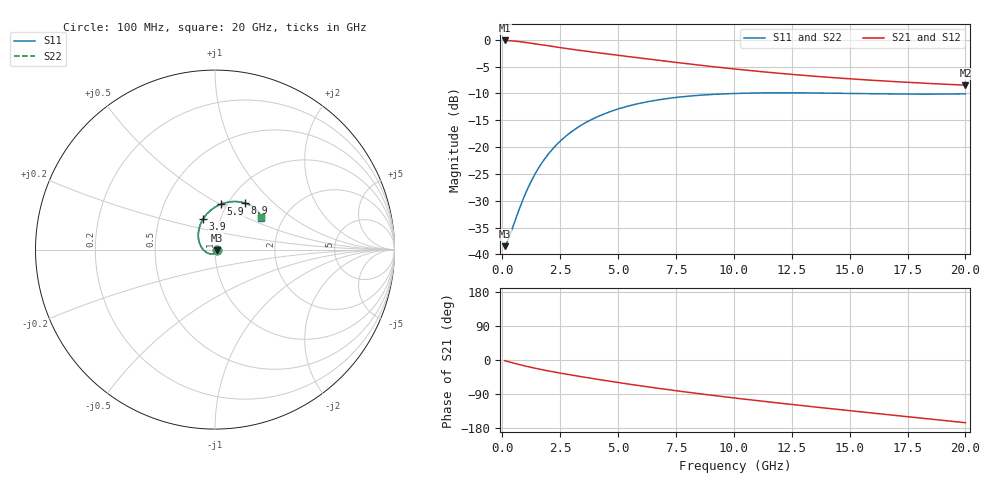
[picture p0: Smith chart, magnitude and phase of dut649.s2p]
! Touchstone file exported from HFSS 2024.1.0
!  File:  C:/UserFiles/LocalFiles/RDL_TSV_Batchsim/temp_RDL_TSV_649_1779808862.aedt
!  Generated:  11:36:37 PM May 26, 2026
!  Design:  RDL_TSV
!  Project:  temp_RDL_TSV_649_1779808862
!  Setup:  Setup1
!  Solution:  Sweep
! Variables:
!  dtsv = 12.19um
!  hbump = 3um
!  htsv = 85.83um
!  ldown = 112.53um
!  lrdl = 438.12um
!  p = 40
!  p1 = 59.17um
!  rhole = 10um
!  subl = 2090.07um
!  t = 450um
!  tdown = 2.17um
!  trdl = 2.87um
!  viad = 10um
!  wdown = 25.46um
!  wrdl = 25.13um
!  xbump = 18um
# GHz S MA R 50.000000
! Terminal data exported
! Port[1] = TM1_1_T1
! Port[2] = TM1_4_T1
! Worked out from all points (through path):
!   200 points, 100 MHz to 20 GHz, reference 50 ohm
!   highest |S21| = -0.11 dB at 100 MHz (marker M1); lowest = -8.4 dB at 20 GHz (marker M2)
!   group delay of S21, straight-line fit = 21.5 ps
!   lowest |S11| = -38.5 dB at 100 MHz (marker M3), VSWR 1.02, Z = 51.1 - j0.411 ohm
!   |S11| at or under -10 dB: start of sweep to 9.993 GHz; 15.21 GHz to end of sweep
!   |S22| runs from -38.5 to -9.9 dB; largest |S21 - S12| = 3.2e-14
!   S11 on the Smith chart (normalised r, x): 100 MHz: 1.02, -0.01; 3.9 GHz: 0.83, +0.29; 5.9 GHz: 0.94, +0.51; 8.9 GHz: 1.18, +0.68; 20 GHz: 1.55, +0.61
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0.1  0.01192 -19.7  0.9878 -1.7  0.9878 -1.7  0.01192 -19.7
! Gamma 0 0 0 0
! Port Impedance 50 0 50 0
0.2  0.01294 -38.7  0.986 -3.4  0.986 -3.4  0.01294 -38.7
0.3  0.01453 -56.6  0.9832 -5.1  0.9832 -5.1  0.01453 -56.6
0.7  0.02529 -112.2  0.9656 -11.5  0.9656 -11.5  0.02529 -112.2
1  0.03683 -140.8  0.9474 -16.0  0.9474 -16.0  0.03683 -140.7
1.3  0.05049 -162.4  0.927 -20.2  0.927 -20.2  0.05047 -162.4
1.6  0.06553 -179.6  0.9059 -24.1  0.9059 -24.1  0.0655 -179.6
2  0.08671 162.3  0.8784 -28.9  0.8784 -28.9  0.08665 162.3
2.4  0.1082 147.8  0.8526 -33.4  0.8526 -33.4  0.1081 147.8
2.9  0.1346 133.2  0.8228 -38.8  0.8228 -38.8  0.1345 133.2
3.5  0.1644 119.2  0.7903 -45.0  0.7903 -45.0  0.1642 119.2
3.9  0.1828 111.3  0.77 -48.9  0.77 -48.9  0.1826 111.3
4.8  0.2195 96.6  0.7274 -57.5  0.7274 -57.5  0.2192 96.6
5.9  0.2551 82.6  0.6793 -67.5  0.6793 -67.5  0.2548 82.7
6.8  0.2772 73.5  0.643 -75.2  0.643 -75.2  0.2768 73.5
7.8  0.2952 65.1  0.6057 -83.4  0.6057 -83.4  0.2947 65.1
8.9  0.3084 57.5  0.5689 -91.9  0.5689 -91.9  0.3079 57.5
10.1  0.3168 50.9  0.5335 -100.8  0.5335 -100.8  0.3162 50.9
11.7  0.3209 44.2  0.4938 -112.0  0.4938 -112.0  0.3203 44.3
13.4  0.3199 39.3  0.4596 -123.3  0.4596 -123.3  0.3193 39.4
16.7  0.3133 34.8  0.4111 -144.5  0.4111 -144.5  0.3126 34.9
20  0.314 34.7  0.3782 -165.5  0.3782 -165.5  0.3135 34.8
